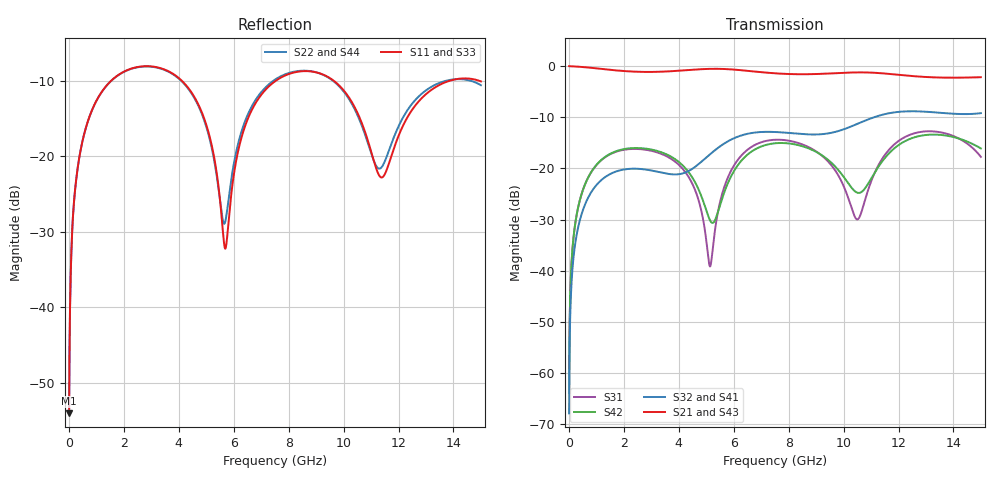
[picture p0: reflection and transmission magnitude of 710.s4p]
! Created with skrf 1.8.0 (http://scikit-rf.org).
# GHz S RI R 50.0
!freq ReS11 ImS11 ReS12 ImS12 ReS13 ImS13
! ReS14 ImS14
! ReS21 ImS21 ReS22 ImS22 ReS23 ImS23
! ReS24 ImS24
! ReS31 ImS31 ReS32 ImS32 ReS33 ImS33
! ReS34 ImS34
! ReS41 ImS41 ReS42 ImS42 ReS43 ImS43
! ReS44 ImS44
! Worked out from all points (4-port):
!   2499 points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, 5 MHz to 15 GHz, reference 50 ohm
!   strongest paths, dB at 5 MHz, 3.476 GHz, 7.19 GHz, 11.1 GHz, 15 GHz:
!     S21: 0.0, -1.1, -1.3, -1.3, -2.2
!     S43: 0.0, -1.1, -1.3, -1.3, -2.2
!     S32: -67.9, -20.9, -12.9, -10.0, -9.2
!     S41: -67.9, -21.0, -12.9, -10.0, -9.2
!     S42: -63.9, -17.1, -15.4, -21.1, -16.1
!     S31: -63.9, -17.4, -14.6, -21.3, -17.8
!   lowest |S11| = -54.0 dB at 5 MHz (marker M1), VSWR 1.00, Z = 50.2 + j0.121 ohm
!   |S11| at or under -10 dB: start of sweep to 1.541 GHz; 4.104 GHz to 7.539 GHz (3.436 GHz wide, 59 % of centre); 9.635 GHz to 13.88 GHz (4.243 GHz wide, 36.1 % of centre) (the widest 3 of 4)
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0.005  0.00158 0.0012  0.9984 -0.00308  7.95e-05 0.000634  -7.73e-05 -0.000396
       0.9984 -0.00308  0.00158 0.0012  -7.73e-05 -0.000396  7.96e-05 0.000633
       7.95e-05 0.000634  -7.73e-05 -0.000396  0.00158 0.0012  0.9984 -0.00308
       -7.73e-05 -0.000396  7.96e-05 0.000633  0.9984 -0.00308  0.00158 0.0012
0.3126303  0.0227 0.0794  0.9691 -0.1921  0.0102 0.0378  -0.00867 -0.0234
           0.9691 -0.1921  0.0226 0.0794  -0.00867 -0.0234  0.0106 0.0377
           0.0102 0.0378  -0.00867 -0.0234  0.0227 0.0794  0.9691 -0.1921
           -0.00867 -0.0234  0.0106 0.0377  0.9691 -0.1921  0.0227 0.0794
1.519383  0.2539 0.1839  0.5853 -0.7078  0.1199 0.0692  -0.0878 -0.0121
          0.5853 -0.7078  0.2525 0.1847  -0.0878 -0.0121  0.1244 0.0636
          0.1199 0.0692  -0.0878 -0.0121  0.2539 0.184  0.5853 -0.7078
          -0.0878 -0.0121  0.1244 0.0636  0.5853 -0.7078  0.2526 0.1847
5.508545  0.0265 -0.0418  -0.9275 -0.1495  0.0154 0.0453  -0.0235 0.1631
          -0.9275 -0.1495  0.0371 -0.0327  -0.0231 0.1632  -0.0255 0.0363
          0.0154 0.0453  -0.0231 0.1632  0.027 -0.042  -0.9275 -0.1493
          -0.0235 0.1631  -0.0255 0.0363  -0.9275 -0.1493  0.0367 -0.033
8.859942  0.3605 -0.0419  0.0329 0.8339  0.1266 -0.0886  0.2036 -0.0663
          0.0329 0.8339  0.3605 -0.0489  0.2036 -0.0674  0.1225 -0.0892
          0.1266 -0.0886  0.2036 -0.0674  0.3634 -0.0417  0.0336 0.8326
          0.2036 -0.0663  0.1225 -0.0892  0.0336 0.8326  0.3635 -0.0503
11.55481  0.0772 0.0206  0.8434 0.032  0.0342 0.1371  0.000694 -0.3425
          0.8434 0.032  0.0923 0.0321  -0.00172 -0.3417  0.00287 0.1313
          0.0342 0.1371  -0.00172 -0.3417  0.0821 0.0139  0.8435 0.0323
          0.000694 -0.3425  0.00287 0.1313  0.8435 0.0323  0.0879 0.0262
15  0.3047 -0.0702  -0.1348 -0.7672  0.0789 -0.1027  -0.3321 0.1032
    -0.1348 -0.7672  0.2808 -0.0903  -0.3311 0.1034  0.0561 -0.1465
    0.0789 -0.1027  -0.3311 0.1034  0.2995 -0.0808  -0.1392 -0.7673
    -0.3321 0.1032  0.0561 -0.1465  -0.1392 -0.7673  0.2795 -0.0821
